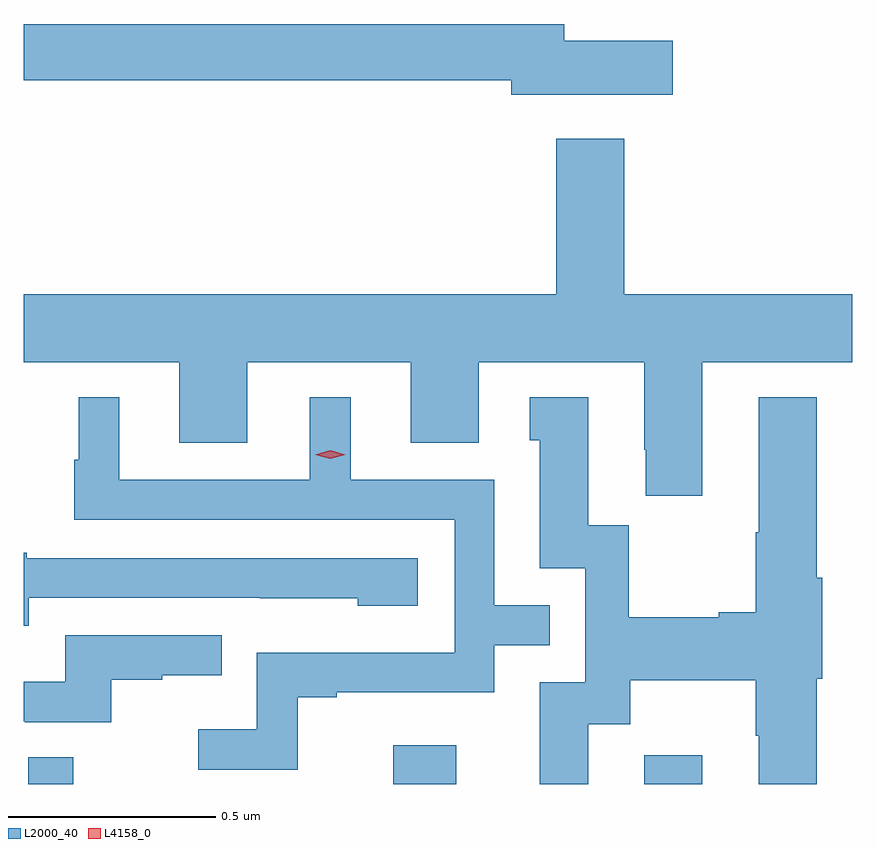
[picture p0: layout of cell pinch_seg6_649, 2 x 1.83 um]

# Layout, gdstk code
import gdstk
lib = gdstk.Library(unit=1e-6, precision=1e-09)
def R(c, l, rs):  # rectangles x0, y0, x1, y1
    for r in rs: c.add(gdstk.rectangle(r[:2], r[2:], *l))
def P(c, l, *ps):  # polygons
    for p in ps: c.add(gdstk.Polygon(p, *l))
L2000_40 = (2000, 40)
L4158_0 = (4158, 0)

pinch_seg6_649 = lib.new_cell('pinch_seg6_649')
R(pinch_seg6_649, L2000_40, [(427.47,968.962,427.579,969.026), (428.351,968.962,428.503,969.055), (428.957,968.962,429.097,969.031)])
P(pinch_seg6_649, L2000_40, [(429.025,970.755),(428.764,970.755),(428.764,970.796),(427.459,970.796),(427.459,970.66),(428.636,970.66),(428.636,970.625),(429.025,970.625)],
  [(429.097,969.98),(429.459,969.98),(429.459,970.144),(428.908,970.144),(428.908,970.519),(428.744,970.519),(428.744,970.144),(427.459,970.144),(427.459,969.98),(427.835,969.98),(427.835,969.786),(427.999,969.786),(427.999,969.98),(428.393,969.98),(428.393,969.786),(428.557,969.786),(428.557,969.98),(428.957,969.98),(428.957,969.769),(428.96,969.769),(428.96,969.657),(429.097,969.657)],
  [(428.121,969.171),(428.215,969.171),(428.215,969.183),(428.595,969.183),(428.595,969.297),(428.729,969.297),(428.729,969.393),(428.595,969.393),(428.595,969.696),(428.248,969.696),(428.248,969.895),(428.15,969.895),(428.15,969.696),(427.69,969.696),(427.69,969.895),(427.592,969.895),(427.592,969.744),(427.581,969.744),(427.581,969.6),(428.499,969.6),(428.499,969.279),(428.022,969.279),(428.022,969.094),(427.881,969.094),(427.881,968.996),(428.121,968.996)],
  [(428.821,969.106),(428.923,969.106),(428.923,969.212),(429.226,969.212),(429.226,969.078),(429.233,969.078),(429.233,968.962),(429.373,968.962),(429.373,969.216),(429.386,969.216),(429.386,969.46),(429.373,969.46),(429.373,969.895),(429.233,969.895),(429.233,969.569),(429.226,969.569),(429.226,969.377),(429.137,969.377),(429.137,969.364),(428.919,969.364),(428.919,969.587),(428.821,969.587),(428.821,969.895),(428.681,969.895),(428.681,969.792),(428.705,969.792),(428.705,969.483),(428.814,969.483),(428.814,969.207),(428.705,969.207),(428.705,968.962),(428.821,968.962)],
  [(427.471,969.411),(428.029,969.411),(428.029,969.41),(428.265,969.41),(428.265,969.392),(428.41,969.392),(428.41,969.507),(427.467,969.507),(427.467,969.52),(427.459,969.52),(427.459,969.344),(427.471,969.344)],
  [(427.67,969.213),(427.793,969.213),(427.793,969.224),(427.937,969.224),(427.937,969.321),(427.56,969.321),(427.56,969.209),(427.459,969.209),(427.459,969.114),(427.462,969.114),(427.462,969.111),(427.67,969.111)])
P(pinch_seg6_649, L4158_0, [(428.199,969.747),(428.163,969.757),(428.163,969.757),(428.163,969.757),(428.199,969.767),(428.235,969.757),(428.235,969.757),(428.235,969.757)])

lib.write_gds('pinch_seg6_649.gds')
